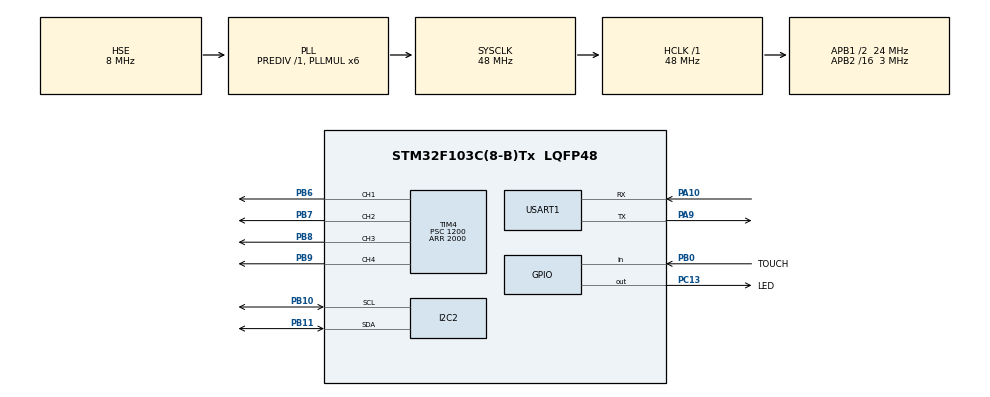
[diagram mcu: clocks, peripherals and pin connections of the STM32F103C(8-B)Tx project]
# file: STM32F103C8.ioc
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ADC1.Channel-0\#ChannelRegularConversion=ADC_CHANNEL_TEMPSENSOR
ADC1.Channel-1\#ChannelRegularConversion=ADC_CHANNEL_VREFINT
ADC1.ContinuousConvMode=ENABLE
ADC1.DataAlign=ADC_DATAALIGN_RIGHT
ADC1.DiscontinuousConvMode=DISABLE
ADC1.EnableAnalogWatchDog=false
ADC1.EnableRegularConversion=ENABLE
ADC1.ExternalTrigConv=ADC_SOFTWARE_START
ADC1.InjNumberOfConversion=0
ADC1.NbrOfConversion=2
ADC1.NbrOfConversionFlag=1
ADC1.Rank-0\#ChannelRegularConversion=1
ADC1.Rank-1\#ChannelRegularConversion=2
ADC1.SamplingTime-0\#ChannelRegularConversion=ADC_SAMPLETIME_239CYCLES_5
ADC1.SamplingTime-1\#ChannelRegularConversion=ADC_SAMPLETIME_239CYCLES_5
ADC1.ScanConvMode=ADC_SCAN_ENABLE
ADC1.master=1
Dma.ADC1.0.Direction=DMA_PERIPH_TO_MEMORY
Dma.ADC1.0.Instance=DMA1_Channel1
Dma.ADC1.0.MemDataAlignment=DMA_MDATAALIGN_HALFWORD
Dma.ADC1.0.MemInc=DMA_MINC_ENABLE
Dma.ADC1.0.Mode=DMA_CIRCULAR
Dma.ADC1.0.PeriphDataAlignment=DMA_PDATAALIGN_HALFWORD
Dma.ADC1.0.PeriphInc=DMA_PINC_DISABLE
Dma.ADC1.0.Priority=DMA_PRIORITY_LOW
Dma.Request0=ADC1
FREERTOS.MEMORY_ALLOCATION=1
FREERTOS.Tasks01=defaultTask,0,128,StartDefaultTask,Default,NULL,Static,defaultTaskBuffer,defaultTaskControlBlock;extraTask,0,128,ExtraWork,Default,NULL,Static,extraTaskBuffer,extraTaskControlBlock
FREERTOS.Timers01=timerLed,LedCallback,osTimerPeriodic,Default,NULL,Static,timerLedControlBlock
FREERTOS.configTOTAL_HEAP_SIZE=4096
FREERTOS.configUSE_TICK_HOOK=0
FREERTOS.configUSE_TIMERS=1
Mcu.Family=STM32F1
Mcu.Name=STM32F103C(8-B)Tx
Mcu.Package=LQFP48
NVIC.ADC1_2_IRQn=true\:5\:0\:false\:false\:true\:true\:true
NVIC.DMA1_Channel1_IRQn=true\:5\:0\:false\:false\:true\:true\:false
NVIC.PriorityGroup=NVIC_PRIORITYGROUP_4
NVIC.TIM1_UP_IRQn=true\:0\:0\:false\:false\:true\:false\:false
NVIC.TimeBase=TIM1_UP_IRQn
NVIC.TimeBaseIP=TIM1
PA10.Mode=Asynchronous
PA10.Signal=USART1_RX
PA9.Mode=Asynchronous
PA9.Signal=USART1_TX
PB0.GPIO_Label=TOUCH
PB0.Signal=GPIO_Input
PB10.Mode=I2C
PB10.Signal=I2C2_SCL
PB11.Mode=I2C
PB11.Signal=I2C2_SDA
PB6.Signal=S_TIM4_CH1
PB7.Signal=S_TIM4_CH2
PB8.Signal=S_TIM4_CH3
PB9.GPIO_Speed=GPIO_SPEED_FREQ_MEDIUM
PB9.Signal=S_TIM4_CH4
PC13-TAMPER-RTC.GPIO_Label=LED
PC13-TAMPER-RTC.Signal=GPIO_Output
PD0-OSC_IN.Mode=HSE-External-Oscillator
PD0-OSC_IN.Signal=RCC_OSC_IN
PD1-OSC_OUT.Mode=HSE-External-Oscillator
PD1-OSC_OUT.Signal=RCC_OSC_OUT
ProjectManager.HeapSize=0x200
ProjectManager.StackSize=0x400
ProjectManager.TargetToolchain=SW4STM32
RCC.ADCPresc=RCC_ADCPCLK2_DIV8
RCC.AHBFreq_Value=48000000
RCC.APB1CLKDivider=RCC_HCLK_DIV2
RCC.APB1Freq_Value=24000000
RCC.APB1TimFreq_Value=48000000
RCC.APB2CLKDivider=RCC_HCLK_DIV16
RCC.APB2Freq_Value=3000000
RCC.APB2TimCLKDivider=2
RCC.APB2TimFreq_Value=6000000
RCC.HCLKFreq_Value=48000000
RCC.PLLMUL=RCC_PLL_MUL6
RCC.PLLSourceVirtual=RCC_PLLSOURCE_HSE
RCC.SYSCLKFreq_VALUE=48000000
RCC.SYSCLKSource=RCC_SYSCLKSOURCE_PLLCLK
RCC.USBFreq_Value=48000000
SH.S_TIM4_CH1.0=TIM4_CH1,PWM Generation1 CH1
SH.S_TIM4_CH2.0=TIM4_CH2,PWM Generation2 CH2
SH.S_TIM4_CH3.0=TIM4_CH3,PWM Generation3 CH3
SH.S_TIM4_CH4.0=TIM4_CH4,PWM Generation4 CH4
TIM4.Channel-PWM\ Generation1\ CH1=TIM_CHANNEL_1
TIM4.Channel-PWM\ Generation2\ CH2=TIM_CHANNEL_2
TIM4.Channel-PWM\ Generation3\ CH3=TIM_CHANNEL_3
TIM4.Channel-PWM\ Generation4\ CH4=TIM_CHANNEL_4
TIM4.ClockDivision=TIM_CLOCKDIVISION_DIV4
TIM4.Period=2000
TIM4.Prescaler=1200
USART1.VirtualMode=VM_ASYNC
VP_ADC1_TempSens_Input.Mode=IN-TempSens
VP_ADC1_Vref_Input.Mode=IN-Vrefint
VP_FREERTOS_VS_ENABLE.Mode=Enabled
VP_SYS_VS_ND.Mode=No_Debug
VP_SYS_VS_tim1.Mode=TIM1
VP_TIM4_VS_ClockSourceINT.Mode=Internal
board=STM32F103C8

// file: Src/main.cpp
/**
  ******************************************************************************
  * File Name          : main.c
  * Description        : Main program body
  ******************************************************************************
  * This notice applies to any and all portions of this file
  * that are not between comment pairs USER CODE BEGIN and
  * USER CODE END. Other portions of this file, whether
  * inserted by the user or by software development tools
  * are owned by their respective copyright owners.
  *
  * Copyright (c) 2017 STMicroelectronics International N.V.
  * All rights reserved.
  *
  * Redistribution and use in source and binary forms, with or without
  * modification, are permitted, provided that the following conditions are met:
  *
  * 1. Redistribution of source code must retain the above copyright notice,
  *    this list of conditions and the following disclaimer.
  * 2. Redistributions in binary form must reproduce the above copyright notice,
  *    this list of conditions and the following disclaimer in the documentation
  *    and/or other materials provided with the distribution.
  * 3. Neither the name of STMicroelectronics nor the names of other
  *    contributors to this software may be used to endorse or promote products
  *    derived from this software without specific written permission.
  * 4. This software, including modifications and/or derivative works of this
  *    software, must execute solely and exclusively on microcontroller or
  *    microprocessor devices manufactured by or for STMicroelectronics.
  * 5. Redistribution and use of this software other than as permitted under
  *    this license is void and will automatically terminate your rights under
  *    this license.
  *
  * THIS SOFTWARE IS PROVIDED BY STMICROELECTRONICS AND CONTRIBUTORS "AS IS"
  * AND ANY EXPRESS, IMPLIED OR STATUTORY WARRANTIES, INCLUDING, BUT NOT
  * LIMITED TO, THE IMPLIED WARRANTIES OF MERCHANTABILITY, FITNESS FOR A
  * PARTICULAR PURPOSE AND NON-INFRINGEMENT OF THIRD PARTY INTELLECTUAL PROPERTY
  * RIGHTS ARE DISCLAIMED TO THE FULLEST EXTENT PERMITTED BY LAW. IN NO EVENT
  * SHALL STMICROELECTRONICS OR CONTRIBUTORS BE LIABLE FOR ANY DIRECT, INDIRECT,
  * INCIDENTAL, SPECIAL, EXEMPLARY, OR CONSEQUENTIAL DAMAGES (INCLUDING, BUT NOT
  * LIMITED TO, PROCUREMENT OF SUBSTITUTE GOODS OR SERVICES; LOSS OF USE, DATA,
  * OR PROFITS; OR BUSINESS INTERRUPTION) HOWEVER CAUSED AND ON ANY THEORY OF
  * LIABILITY, WHETHER IN CONTRACT, STRICT LIABILITY, OR TORT (INCLUDING
  * NEGLIGENCE OR OTHERWISE) ARISING IN ANY WAY OUT OF THE USE OF THIS SOFTWARE,
  * EVEN IF ADVISED OF THE POSSIBILITY OF SUCH DAMAGE.
  *
  ******************************************************************************
  */

#include <L2Status.h>
#include "main.h"
#include "stm32f1xx_hal.h"
#include "cmsis_os.h"
#include "L2Config.h"
#include "LxHeater.h"
#include <stdio.h>
#include <string.h>
#include <math.h>
#include <arm_math.h>

/* USER CODE BEGIN Includes */
#define VEML_ADDRESS 0x10<<1
/* USER CODE END Includes */

ADC_HandleTypeDef hadc1;
DMA_HandleTypeDef hdma_adc1;

I2C_HandleTypeDef hi2c2;

TIM_HandleTypeDef htim4;

UART_HandleTypeDef huart1;

osThreadId defaultTaskHandle;
uint32_t defaultTaskBuffer[ 128 ];
osStaticThreadDef_t defaultTaskControlBlock;
osThreadId extraTaskHandle;
uint32_t extraTaskBuffer[ 128 ];
osStaticThreadDef_t extraTaskControlBlock;
osTimerId timerLedHandle;
osStaticTimerDef_t timerLedControlBlock;

/* USER CODE BEGIN PV */
/* Private variables ---------------------------------------------------------*/
L2Status l2Status;
L2Config l2Config;
LxHeater lxHeater;
/* USER CODE END PV */

void SystemClock_Config(void);
static void MX_GPIO_Init(void);
static void MX_DMA_Init(void);
static void MX_ADC1_Init(void);
static void MX_TIM4_Init(void);
static void MX_I2C2_Init(void);
static void MX_USART1_UART_Init(void);
void StartDefaultTask(void const * argument);
void ExtraWork(void const * argument);
void LedCallback(void const * argument);

extern "C" void HAL_TIM_MspPostInit(TIM_HandleTypeDef *htim);

/* USER CODE BEGIN PFP */
/* Private function prototypes -----------------------------------------------*/

/* USER CODE END PFP */

static char buffer[100];

#define NN_INPUTS 3
#define NN_OUTPUTS 7

const float32_t weights[NN_INPUTS][NN_OUTPUTS] = {
	{-1.11849198e-02,3.56271898e-02,-7.65483824e-02,2.13307251e-02,5.06203963e-02,1.63295386e-06,-6.36056948e-02},
	{5.94595183e-03,6.57676312e-02,6.57660678e-02,-1.71363030e-03,-8.29492778e-02,1.83595920e-04,1.07288641e-02},
	{-1.11536215e-02,-3.47855075e-01,-3.54054451e-02,-6.67538237e-02,-4.86566623e-03,-3.26143028e-03,6.26098911e-02}
};

const float32_t intercept[NN_OUTPUTS] =
	{6.03650442e+00,-1.08811510e-02,-1.07133471e-03,-1.17112389e+01,-7.59466346e-04,-1.85713751e-06,-6.31466695e-04};

int main(void)
{

  /* MCU Configuration----------------------------------------------------------*/

  /* Reset of all peripherals, Initializes the Flash interface and the Systick. */
  HAL_Init();

  /* Configure the system clock */
  SystemClock_Config();

  /* Initialize all configured peripherals */
  MX_GPIO_Init();
  MX_DMA_Init();
  MX_ADC1_Init();
  MX_TIM4_Init();
  MX_I2C2_Init();
  MX_USART1_UART_Init();

  /* Create the timer(s) */
  /* definition and creation of timerLed */
  osTimerStaticDef(timerLed, LedCallback, &timerLedControlBlock);
  timerLedHandle = osTimerCreate(osTimer(timerLed), osTimerPeriodic, NULL);

  /* Create the thread(s) */
  /* definition and creation of defaultTask */
  osThreadStaticDef(defaultTask, StartDefaultTask, osPriorityNormal, 0, 128, defaultTaskBuffer, &defaultTaskControlBlock);
  defaultTaskHandle = osThreadCreate(osThread(defaultTask), NULL);

  /* definition and creation of extraTask */
  osThreadStaticDef(extraTask, ExtraWork, osPriorityNormal, 0, 128, extraTaskBuffer, &extraTaskControlBlock);
  extraTaskHandle = osThreadCreate(osThread(extraTask), NULL);

  /* Start scheduler */
  osKernelStart();

  /* We should never get here as control is now taken by the scheduler */

  /* Infinite loop */
  while (1)
  {

  }

}

/** System Clock Configuration
*/
void SystemClock_Config(void)
{

  RCC_OscInitTypeDef RCC_OscInitStruct;
  RCC_ClkInitTypeDef RCC_ClkInitStruct;
  RCC_PeriphCLKInitTypeDef PeriphClkInit;

    /**Initializes the CPU, AHB and APB busses clocks
    */
  RCC_OscInitStruct.OscillatorType = RCC_OSCILLATORTYPE_HSE;
  RCC_OscInitStruct.HSEState = RCC_HSE_ON;
  RCC_OscInitStruct.HSEPredivValue = RCC_HSE_PREDIV_DIV1;
  RCC_OscInitStruct.HSIState = RCC_HSI_ON;
  RCC_OscInitStruct.PLL.PLLState = RCC_PLL_ON;
  RCC_OscInitStruct.PLL.PLLSource = RCC_PLLSOURCE_HSE;
  RCC_OscInitStruct.PLL.PLLMUL = RCC_PLL_MUL6;
  if (HAL_RCC_OscConfig(&RCC_OscInitStruct) != HAL_OK)
  {
    _Error_Handler(__FILE__, __LINE__);
  }

    /**Initializes the CPU, AHB and APB busses clocks
    */
  RCC_ClkInitStruct.ClockType = RCC_CLOCKTYPE_HCLK|RCC_CLOCKTYPE_SYSCLK
                              |RCC_CLOCKTYPE_PCLK1|RCC_CLOCKTYPE_PCLK2;
  RCC_ClkInitStruct.SYSCLKSource = RCC_SYSCLKSOURCE_PLLCLK;
  RCC_ClkInitStruct.AHBCLKDivider = RCC_SYSCLK_DIV1;
  RCC_ClkInitStruct.APB1CLKDivider = RCC_HCLK_DIV2;
  RCC_ClkInitStruct.APB2CLKDivider = RCC_HCLK_DIV16;

  if (HAL_RCC_ClockConfig(&RCC_ClkInitStruct, FLASH_LATENCY_1) != HAL_OK)
  {
    _Error_Handler(__FILE__, __LINE__);
  }

  PeriphClkInit.PeriphClockSelection = RCC_PERIPHCLK_ADC;
  PeriphClkInit.AdcClockSelection = RCC_ADCPCLK2_DIV8;
  if (HAL_RCCEx_PeriphCLKConfig(&PeriphClkInit) != HAL_OK)
  {
    _Error_Handler(__FILE__, __LINE__);
  }

    /**Configure the Systick interrupt time
    */
  HAL_SYSTICK_Config(HAL_RCC_GetHCLKFreq()/1000);

    /**Configure the Systick
    */
  HAL_SYSTICK_CLKSourceConfig(SYSTICK_CLKSOURCE_HCLK);

  /* SysTick_IRQn interrupt configuration */
  HAL_NVIC_SetPriority(SysTick_IRQn, 15, 0);
}

/* ADC1 init function */
static void MX_ADC1_Init(void)
{

  ADC_ChannelConfTypeDef sConfig;

    /**Common config
    */
  hadc1.Instance = ADC1;
  hadc1.Init.ScanConvMode = ADC_SCAN_ENABLE;
  hadc1.Init.ContinuousConvMode = ENABLE;
  hadc1.Init.DiscontinuousConvMode = DISABLE;
  hadc1.Init.ExternalTrigConv = ADC_SOFTWARE_START;
  hadc1.Init.DataAlign = ADC_DATAALIGN_RIGHT;
  hadc1.Init.NbrOfConversion = 2;
  if (HAL_ADC_Init(&hadc1) != HAL_OK)
  {
    _Error_Handler(__FILE__, __LINE__);
  }

    /**Configure Regular Channel
    */
  sConfig.Channel = ADC_CHANNEL_TEMPSENSOR;
  sConfig.Rank = 1;
  sConfig.SamplingTime = ADC_SAMPLETIME_239CYCLES_5;
  if (HAL_ADC_ConfigChannel(&hadc1, &sConfig) != HAL_OK)
  {
    _Error_Handler(__FILE__, __LINE__);
  }

    /**Configure Regular Channel
    */
  sConfig.Channel = ADC_CHANNEL_VREFINT;
  sConfig.Rank = 2;
  if (HAL_ADC_ConfigChannel(&hadc1, &sConfig) != HAL_OK)
  {
    _Error_Handler(__FILE__, __LINE__);
  }

}

/* I2C2 init function */
static void MX_I2C2_Init(void)
{

  hi2c2.Instance = I2C2;
  hi2c2.Init.ClockSpeed = 100000;
  hi2c2.Init.DutyCycle = I2C_DUTYCYCLE_2;
  hi2c2.Init.OwnAddress1 = 0;
  hi2c2.Init.AddressingMode = I2C_ADDRESSINGMODE_7BIT;
  hi2c2.Init.DualAddressMode = I2C_DUALADDRESS_DISABLE;
  hi2c2.Init.OwnAddress2 = 0;
  hi2c2.Init.GeneralCallMode = I2C_GENERALCALL_DISABLE;
  hi2c2.Init.NoStretchMode = I2C_NOSTRETCH_DISABLE;
  if (HAL_I2C_Init(&hi2c2) != HAL_OK)
  {
    _Error_Handler(__FILE__, __LINE__);
  }

}

/* TIM4 init function */
static void MX_TIM4_Init(void)
{

  TIM_ClockConfigTypeDef sClockSourceConfig;
  TIM_MasterConfigTypeDef sMasterConfig;
  TIM_OC_InitTypeDef sConfigOC;

  htim4.Instance = TIM4;
  htim4.Init.Prescaler = 1200;
  htim4.Init.CounterMode = TIM_COUNTERMODE_UP;
  htim4.Init.Period = 2000;
  htim4.Init.ClockDivision = TIM_CLOCKDIVISION_DIV4;
  htim4.Init.AutoReloadPreload = TIM_AUTORELOAD_PRELOAD_DISABLE;
  if (HAL_TIM_Base_Init(&htim4) != HAL_OK)
  {
    _Error_Handler(__FILE__, __LINE__);
  }

  sClockSourceConfig.ClockSource = TIM_CLOCKSOURCE_INTERNAL;
  if (HAL_TIM_ConfigClockSource(&htim4, &sClockSourceConfig) != HAL_OK)
  {
    _Error_Handler(__FILE__, __LINE__);
  }

  if (HAL_TIM_PWM_Init(&htim4) != HAL_OK)
  {
    _Error_Handler(__FILE__, __LINE__);
  }

  sMasterConfig.MasterOutputTrigger = TIM_TRGO_RESET;
  sMasterConfig.MasterSlaveMode = TIM_MASTERSLAVEMODE_DISABLE;
  if (HAL_TIMEx_MasterConfigSynchronization(&htim4, &sMasterConfig) != HAL_OK)
  {
    _Error_Handler(__FILE__, __LINE__);
  }

  sConfigOC.OCMode = TIM_OCMODE_PWM1;
  sConfigOC.Pulse = 0;
  sConfigOC.OCPolarity = TIM_OCPOLARITY_HIGH;
  sConfigOC.OCFastMode = TIM_OCFAST_DISABLE;
  if (HAL_TIM_PWM_ConfigChannel(&htim4, &sConfigOC, TIM_CHANNEL_1) != HAL_OK)
  {
    _Error_Handler(__FILE__, __LINE__);
  }

  if (HAL_TIM_PWM_ConfigChannel(&htim4, &sConfigOC, TIM_CHANNEL_2) != HAL_OK)
  {
    _Error_Handler(__FILE__, __LINE__);
  }

  if (HAL_TIM_PWM_ConfigChannel(&htim4, &sConfigOC, TIM_CHANNEL_3) != HAL_OK)
  {
    _Error_Handler(__FILE__, __LINE__);
  }

  if (HAL_TIM_PWM_ConfigChannel(&htim4, &sConfigOC, TIM_CHANNEL_4) != HAL_OK)
  {
    _Error_Handler(__FILE__, __LINE__);
  }

  HAL_TIM_MspPostInit(&htim4);

}

/* USART1 init function */
static void MX_USART1_UART_Init(void)
{

  huart1.Instance = USART1;
  huart1.Init.BaudRate = 115200;
  huart1.Init.WordLength = UART_WORDLENGTH_8B;
  huart1.Init.StopBits = UART_STOPBITS_1;
  huart1.Init.Parity = UART_PARITY_NONE;
  huart1.Init.Mode = UART_MODE_TX_RX;
  huart1.Init.HwFlowCtl = UART_HWCONTROL_NONE;
  huart1.Init.OverSampling = UART_OVERSAMPLING_16;
  if (HAL_UART_Init(&huart1) != HAL_OK)
  {
    _Error_Handler(__FILE__, __LINE__);
  }

}

static void MX_DMA_Init(void)
{
  /* DMA controller clock enable */
  __HAL_RCC_DMA1_CLK_ENABLE();

  /* DMA interrupt init */
  /* DMA1_Channel1_IRQn interrupt configuration */
  HAL_NVIC_SetPriority(DMA1_Channel1_IRQn, 5, 0);
  HAL_NVIC_EnableIRQ(DMA1_Channel1_IRQn);

}

/** Configure pins as
        * Analog
        * Input
        * Output
        * EVENT_OUT
        * EXTI
*/
static void MX_GPIO_Init(void)
{

  GPIO_InitTypeDef GPIO_InitStruct;

  /* GPIO Ports Clock Enable */
  __HAL_RCC_GPIOC_CLK_ENABLE();
  __HAL_RCC_GPIOD_CLK_ENABLE();
  __HAL_RCC_GPIOB_CLK_ENABLE();
  __HAL_RCC_GPIOA_CLK_ENABLE();

  /*Configure GPIO pin Output Level */
  HAL_GPIO_WritePin(LED_GPIO_Port, LED_Pin, GPIO_PIN_RESET);

  /*Configure GPIO pin : LED_Pin */
  GPIO_InitStruct.Pin = LED_Pin;
  GPIO_InitStruct.Mode = GPIO_MODE_OUTPUT_PP;
  GPIO_InitStruct.Speed = GPIO_SPEED_FREQ_LOW;
  HAL_GPIO_Init(LED_GPIO_Port, &GPIO_InitStruct);

  /*Configure GPIO pin : TOUCH_Pin */
  GPIO_InitStruct.Pin = TOUCH_Pin;
  GPIO_InitStruct.Mode = GPIO_MODE_INPUT;
  GPIO_InitStruct.Pull = GPIO_NOPULL;
  HAL_GPIO_Init(TOUCH_GPIO_Port, &GPIO_InitStruct);

}

/* USER CODE BEGIN 4 */
enum Color
{   // Sequence of neural network
	RED   	= 4,
	GREEN	= 2,
	BLUE	= 6,
	YELLOW	= 1,
	ORANGE	= 3,
	BROWN	= 5,
	UNKNOWN = 0
};

struct TOutputData
{
	uint8_t data[NN_OUTPUTS];
};

Color Neural(float32_t red, float32_t green, float32_t blue, float32_t white, TOutputData* ptOutputData)
{
	// sigmoid( np.dot([1567,1421,531], np.array(logreg.coef_).transpose()) + logreg.intercept_ )
	float32_t product[NN_OUTPUTS];
	for (int column=0; column<NN_OUTPUTS; column++) {
		product[column] = red * weights[0][column] + green * weights[1][column] + blue * weights[2][column];
	}

	float addIntercept[NN_OUTPUTS];
	for (int column=0; column<NN_OUTPUTS; column++) {
		addIntercept[column] = product[column] + intercept[column];
	}
    //def __sigmoid(self, x):
    //    return 1 / (1 + exp(-x))
	float32_t sigmoidOut[NN_OUTPUTS];
	for (int column=0; column<NN_OUTPUTS; column++) {
		sigmoidOut[column] = (1 / (1 + exp(-addIntercept[column])));
	}

	int index = 0;

	for (int column=0; column<NN_OUTPUTS; column++) {
		ptOutputData->data[column] = (uint8_t)(sigmoidOut[column]*100);
	}

	for (int column=0; column<NN_OUTPUTS; column++) {
	  if (sigmoidOut[column]>sigmoidOut[index])
	  {
		  index = column;
	  }
	}

	//sprintf(buffer, "re%f,gr%f,bl%f,or%f,ye%f,br%f,un%f\r\n", sigmoidOut[RED], sigmoidOut[GREEN], sigmoidOut[BLUE],
	//		sigmoidOut[ORANGE], sigmoidOut[YELLOW], sigmoidOut[BROWN], sigmoidOut[UNKNOWN]);
	//sprintf(buffer, "Index:%d\r\n", index);
	//HAL_UART_Transmit(&huart1, (uint8_t*)buffer, strlen(buffer), 1000);
    return (Color)index;
}

Color GetColor()
{
	uint16_t colorRedRaw = 0;
	uint16_t colorGreenRaw = 0;
	uint16_t colorBlueRaw = 0;
	uint16_t colorWhiteRaw = 0;

	HAL_I2C_Mem_Read(&hi2c2, VEML_ADDRESS, 0x8, 1, (uint8_t*)&colorRedRaw, 2, 1000);
	HAL_I2C_Mem_Read(&hi2c2, VEML_ADDRESS, 0x9, 1, (uint8_t*)&colorGreenRaw, 2, 1000);
	HAL_I2C_Mem_Read(&hi2c2, VEML_ADDRESS, 0xa, 1, (uint8_t*)&colorBlueRaw, 2, 1000);
	HAL_I2C_Mem_Read(&hi2c2, VEML_ADDRESS, 0xb, 1, (uint8_t*)&colorWhiteRaw, 2, 1000);

	Color index = UNKNOWN;
	TOutputData outputData;
	index = Neural( ((float32_t)colorRedRaw), ((float32_t)colorGreenRaw), ((float32_t)colorBlueRaw), ((float32_t)colorWhiteRaw), &outputData );

	sprintf(buffer, "%d %d %d\r\n", index, outputData.data[0], outputData.data[1]);
	HAL_UART_Transmit(&huart1, (uint8_t*)buffer, strlen(buffer), 1000);
	return index;
}

void SelectColor(Color color, bool all = true)
{
	switch (color)
	{
	case RED:
		if (all) {
		__HAL_TIM_SET_COMPARE(&htim4, TIM_CHANNEL_2, 100);
		}
		else
		{
			__HAL_TIM_SET_COMPARE(&htim4, TIM_CHANNEL_2, 62);
		}
		__HAL_TIM_SET_COMPARE(&htim4, TIM_CHANNEL_1, 100);
		break;
	case GREEN:
		if (all) {
		__HAL_TIM_SET_COMPARE(&htim4, TIM_CHANNEL_2, 30);
		}
		else
		{
			__HAL_TIM_SET_COMPARE(&htim4, TIM_CHANNEL_2, 45);
		}
		__HAL_TIM_SET_COMPARE(&htim4, TIM_CHANNEL_1, 90);
		break;
	case BLUE:
		if (all) {
		__HAL_TIM_SET_COMPARE(&htim4, TIM_CHANNEL_2, 100);
		}
		else
		{
			__HAL_TIM_SET_COMPARE(&htim4, TIM_CHANNEL_2, 62);
		}
		__HAL_TIM_SET_COMPARE(&htim4, TIM_CHANNEL_1, 40);
		break;
	case YELLOW:
		if (all) {
		__HAL_TIM_SET_COMPARE(&htim4, TIM_CHANNEL_2, 30);
		}
		else
		{
			__HAL_TIM_SET_COMPARE(&htim4, TIM_CHANNEL_2, 45);
		}
		__HAL_TIM_SET_COMPARE(&htim4, TIM_CHANNEL_1, 40);
		break;
	case ORANGE:
		if (all) {
		__HAL_TIM_SET_COMPARE(&htim4, TIM_CHANNEL_2, 25);
		}
		else
		{
			__HAL_TIM_SET_COMPARE(&htim4, TIM_CHANNEL_2, 42);
		}
		__HAL_TIM_SET_COMPARE(&htim4, TIM_CHANNEL_1, 68);
		break;
	case BROWN:
		if (all) {
		__HAL_TIM_SET_COMPARE(&htim4, TIM_CHANNEL_2, 100);
		}
		else
		{
			__HAL_TIM_SET_COMPARE(&htim4, TIM_CHANNEL_2, 72);
		}
		__HAL_TIM_SET_COMPARE(&htim4, TIM_CHANNEL_1, 68);
		break;
	case UNKNOWN:
		__HAL_TIM_SET_COMPARE(&htim4, TIM_CHANNEL_2, 57);
		__HAL_TIM_SET_COMPARE(&htim4, TIM_CHANNEL_1, 68);
		break;
	}
}
/* USER CODE END 4 */

/* StartDefaultTask function */
void StartDefaultTask(void const * argument)
{
  l2Status.Start();

  //lxHeater.Start((IHeaterConfig*)&l2Config, (IHeaterStatus*)&l2Status);
  /* USER CODE BEGIN 5 */
  /* Infinite loop */
  HAL_TIM_PWM_Start(&htim4, TIM_CHANNEL_4);
  HAL_TIM_PWM_Start(&htim4, TIM_CHANNEL_3);
  HAL_TIM_PWM_Start(&htim4, TIM_CHANNEL_2);
  HAL_TIM_PWM_Start(&htim4, TIM_CHANNEL_1);

  uint16_t dataI2c = 0x00;
  HAL_I2C_Mem_Write(&hi2c2, VEML_ADDRESS, 0x00, 1, (uint8_t*)&dataI2c, 2, 1000);

  sprintf(buffer, "M&M\r\n");
  HAL_UART_Transmit(&huart1, (uint8_t*)buffer, 7, 1000);
  Color color = UNKNOWN;

  // Top fetch
  __HAL_TIM_SET_COMPARE(&htim4, TIM_CHANNEL_4, 25);
  osDelay(800);
  // Top drop
  __HAL_TIM_SET_COMPARE(&htim4, TIM_CHANNEL_4, 80);
  osDelay(800);
  for(;;)
  {
	  if (HAL_GPIO_ReadPin(TOUCH_GPIO_Port, TOUCH_Pin) == GPIO_PIN_SET)
	  {
		  // Midle open
		  __HAL_TIM_SET_COMPARE(&htim4, TIM_CHANNEL_3, 25);
		  osDelay(800);
		  // Middle meaure
		  __HAL_TIM_SET_COMPARE(&htim4, TIM_CHANNEL_3, 50);
		  __HAL_TIM_SET_COMPARE(&htim4, TIM_CHANNEL_4, 25);
		  // Set unkown
		  SelectColor(Color::UNKNOWN);
		  osDelay(500);
		  __HAL_TIM_SET_COMPARE(&htim4, TIM_CHANNEL_4, 80);
		  color = GetColor();
		  if (color != Color::UNKNOWN)
		  {
			  SelectColor(color, false);
			  osDelay(500);
			  __HAL_TIM_SET_COMPARE(&htim4, TIM_CHANNEL_3, 100);
			  osDelay(800);
			  SelectColor(color);
			  osDelay(800);
		  }
		  /*
		//	__HAL_TIM_SET_COMPARE(&htim4, TIM_CHANNEL_4, 80); // 2
	  __HAL_TIM_SET_COMPARE(&htim4, TIM_CHANNEL_4, 100);
	  osDelay(1000);
		//__HAL_TIM_SET_COMPARE(&htim4, TIM_CHANNEL_4, 40); // 1
	  __HAL_TIM_SET_COMPARE(&htim4, TIM_CHANNEL_4, 25);
	  osDelay(1000);
	  __HAL_TIM_SET_COMPARE(&htim4, TIM_CHANNEL_3, 100);
	  osDelay(1000);
	  __HAL_TIM_SET_COMPARE(&htim4, TIM_CHANNEL_3, 25);
	  osDelay(1000);
	  __HAL_TIM_SET_COMPARE(&htim4, TIM_CHANNEL_2, 100);
	  osDelay(1000);
	//  __HAL_TIM_SET_COMPARE(&htim4, TIM_CHANNEL_1, 100);
	//  osDelay(1000);
	//  __HAL_TIM_SET_COMPARE(&htim4, TIM_CHANNEL_1, 25);
	//  osDelay(1000);
	  __HAL_TIM_SET_COMPARE(&htim4, TIM_CHANNEL_4, 100);
	  osDelay(1000);
		//__HAL_TIM_SET_COMPARE(&htim4, TIM_CHANNEL_4, 40); // 1
	  __HAL_TIM_SET_COMPARE(&htim4, TIM_CHANNEL_4, 25);
	  osDelay(1000);
	  __HAL_TIM_SET_COMPARE(&htim4, TIM_CHANNEL_3, 100);
	  osDelay(1000);
	  __HAL_TIM_SET_COMPARE(&htim4, TIM_CHANNEL_3, 25);
	  osDelay(1000);
	  __HAL_TIM_SET_COMPARE(&htim4, TIM_CHANNEL_2, 25);
	  osDelay(1000);
	  */

	  }
	  else
	  {
//		  osDelay(1000);
//		  color = GetColor();
//		  SelectColor(color);
	  }
  }
  /* USER CODE END 5 */
}

/* ExtraWork function */
void ExtraWork(void const * argument)
{
  for(;;)
  {
    osDelay(1);
  }
}

/* LedCallback function */
void LedCallback(void const * argument)
{
}

void HAL_TIM_PeriodElapsedCallback(TIM_HandleTypeDef *htim)
{
  if (htim->Instance == TIM1) {
    HAL_IncTick();
  }
}

void _Error_Handler(char * file, int line)
{
  while(1)
  {
  }
}

/************************ (C) COPYRIGHT STMicroelectronics *****END OF FILE****/
